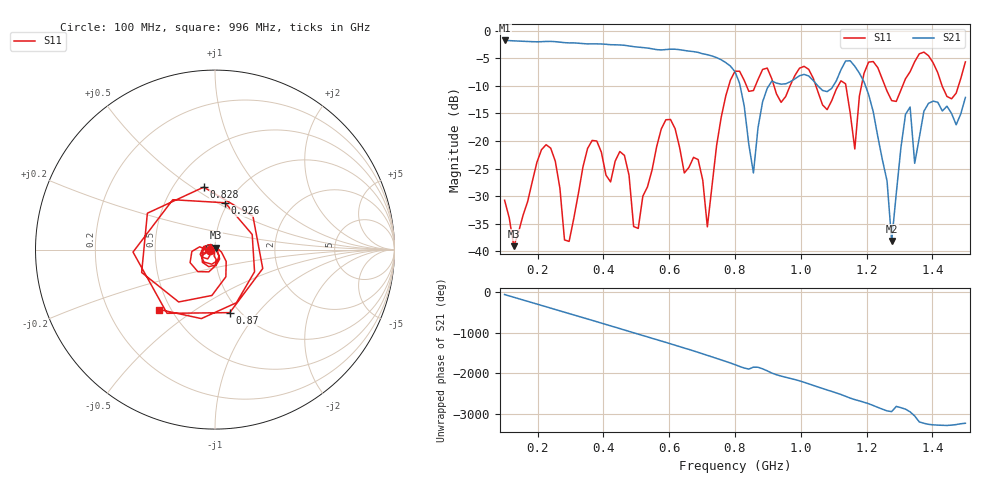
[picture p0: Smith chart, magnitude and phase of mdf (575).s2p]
! NanoVNA-App
! Date: 2025-09-25 15:42:53
! Start: 100MHz Stop: 1,5GHz Points: 101
! S-Parameter data: F S11 S21 S12 S22
# Hz S RI R 50
!  Frequency  S11_Real  S11_Imag  S21_Real  S21_Imag  S12_Real  S12_Imag  S22_Real  S22_Imag
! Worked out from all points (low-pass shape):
!   101 points, 100 MHz to 1.5 GHz, reference 50 ohm
!   highest |S21| = -1.80 dB at 100 MHz (marker M1); lowest = -38.1 dB at 1.276 GHz (marker M2)
!   |S21| within 3 dB of the highest: start of sweep to 739.2 MHz
!   lowest |S11| = -39.0 dB at 128 MHz (marker M3), VSWR 1.02, Z = 50.3 + j1.07 ohm
!   |S11| at or under -10 dB: start of sweep to 781 MHz; 1.046 GHz to 1.114 GHz (67.93 MHz wide, 6.29 % of centre); 1.255 GHz to 1.309 GHz (53.93 MHz wide, 4.21 % of centre) (the widest 3 of 7)
!   S12 and S22 are empty: the file has one direction only
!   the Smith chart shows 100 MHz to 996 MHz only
!   S11 on the Smith chart (normalised r, x): 100 MHz: 0.94, -0.01; 828 MHz: 0.70, +0.56; 870 MHz: 0.90, -0.73; 926 MHz: 0.97, +0.54; 996 MHz: 0.43, -0.36
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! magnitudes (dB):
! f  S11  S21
! 100 MHz  -30.7  -1.8
! 128 MHz  -39.0  -1.9
! 212 MHz  -21.6  -2.0
! 282 MHz  -37.9  -2.2
! 338 MHz  -24.7  -2.4
! 464 MHz  -22.6  -2.7
! 506 MHz  -35.8  -3.0
! 576 MHz  -17.8  -3.5
! 716 MHz  -35.5  -4.4
! 800 MHz  -7.4  -7.4
! 828 MHz  -9.0  -13.7
! 856 MHz  -10.9  -25.8
! 870 MHz  -8.9  -17.6
! 926 MHz  -11.5  -9.5
! 996 MHz  -6.8  -8.2
! 1.038 GHz  -8.7  -9.1
! 1.164 GHz  -21.4  -6.5
! 1.192 GHz  -7.8  -9.3
! 1.276 GHz  -12.7  -38.1
! 1.318 GHz  -8.7  -15.2
! 1.346 GHz  -5.6  -24.0
! 1.5 GHz  -5.7  -12.1
